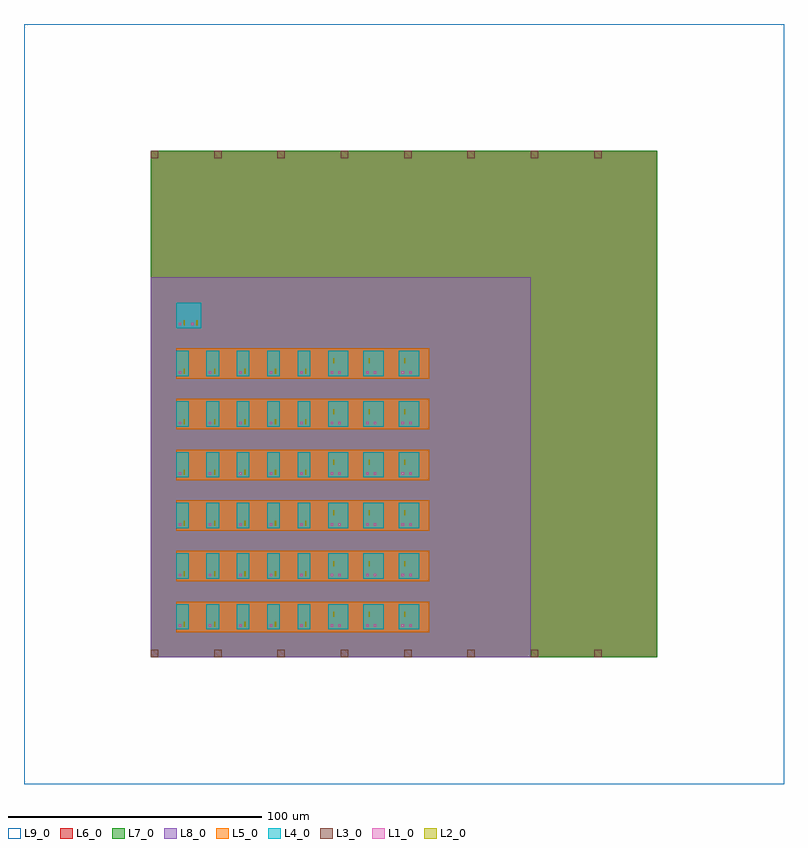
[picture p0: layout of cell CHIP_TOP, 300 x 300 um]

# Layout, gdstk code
import gdstk
lib = gdstk.Library(unit=1e-6, precision=1e-09)
def R(c, l, rs):  # rectangles x0, y0, x1, y1
    for r in rs: c.add(gdstk.rectangle(r[:2], r[2:], *l))
L1_0 = (1, 0)
L2_0 = (2, 0)
L3_0 = (3, 0)
L4_0 = (4, 0)
L5_0 = (5, 0)
L6_0 = (6, 0)
L7_0 = (7, 0)
L8_0 = (8, 0)
L9_0 = (9, 0)

leaf_via_a = lib.new_cell('LEAF_VIA_A')
R(leaf_via_a, L1_0, [(0,0,1,1)])

leaf_via_b = lib.new_cell('LEAF_VIA_B')
R(leaf_via_b, L2_0, [(0,0,0.5,2)])

inv_gate = lib.new_cell('INV_GATE')
R(inv_gate, L4_0, [(0,0,5,10)])
inv_gate.add(gdstk.Reference(leaf_via_a, (1,1)))
inv_gate.add(gdstk.Reference(leaf_via_b, (3,1)))

nand_gate = lib.new_cell('NAND_GATE')
R(nand_gate, L4_0, [(0,0,8,10)])
nand_gate.add(gdstk.Reference(leaf_via_a, (1,1)))
nand_gate.add(gdstk.Reference(leaf_via_a, (4,1)))
nand_gate.add(gdstk.Reference(leaf_via_b, (2,5)))

stdcell_row = lib.new_cell('STDCELL_ROW')
R(stdcell_row, L5_0, [(0,0,100,12)])
stdcell_row.add(gdstk.Reference(inv_gate, (0,1)))
stdcell_row.add(gdstk.Reference(inv_gate, (12,1)))
stdcell_row.add(gdstk.Reference(inv_gate, (24,1)))
stdcell_row.add(gdstk.Reference(inv_gate, (36,1)))
stdcell_row.add(gdstk.Reference(inv_gate, (48,1)))
stdcell_row.add(gdstk.Reference(nand_gate, (60,1)))
stdcell_row.add(gdstk.Reference(nand_gate, (74,1)))
stdcell_row.add(gdstk.Reference(nand_gate, (88,1)))

buf_gate = lib.new_cell('BUF_GATE')
R(buf_gate, L4_0, [(0,0,10,10)])
buf_gate.add(gdstk.Reference(inv_gate, (0,0)))
buf_gate.add(gdstk.Reference(inv_gate, (5,0)))

core_block = lib.new_cell('CORE_BLOCK')
R(core_block, L8_0, [(0,0,150,150)])
core_block.add(gdstk.Reference(stdcell_row, (10,10)))
core_block.add(gdstk.Reference(stdcell_row, (10,30)))
core_block.add(gdstk.Reference(stdcell_row, (10,50)))
core_block.add(gdstk.Reference(stdcell_row, (10,70)))
core_block.add(gdstk.Reference(stdcell_row, (10,90)))
core_block.add(gdstk.Reference(stdcell_row, (10,110)))
core_block.add(gdstk.Reference(buf_gate, (10,130)))

leaf_pad = lib.new_cell('LEAF_PAD')
R(leaf_pad, L3_0, [(0,0,3,3)])

io_ring = lib.new_cell('IO_RING')
R(io_ring, L6_0, [(0,0,200,200)])
io_ring.add(gdstk.Reference(leaf_pad, (0,0)))
io_ring.add(gdstk.Reference(leaf_pad, (0,197)))
io_ring.add(gdstk.Reference(leaf_pad, (25,0)))
io_ring.add(gdstk.Reference(leaf_pad, (25,197)))
io_ring.add(gdstk.Reference(leaf_pad, (50,0)))
io_ring.add(gdstk.Reference(leaf_pad, (50,197)))
io_ring.add(gdstk.Reference(leaf_pad, (75,0)))
io_ring.add(gdstk.Reference(leaf_pad, (75,197)))
io_ring.add(gdstk.Reference(leaf_pad, (100,0)))
io_ring.add(gdstk.Reference(leaf_pad, (100,197)))
io_ring.add(gdstk.Reference(leaf_pad, (125,0)))
io_ring.add(gdstk.Reference(leaf_pad, (125,197)))
io_ring.add(gdstk.Reference(leaf_pad, (150,0)))
io_ring.add(gdstk.Reference(leaf_pad, (150,197)))
io_ring.add(gdstk.Reference(leaf_pad, (175,0)))
io_ring.add(gdstk.Reference(leaf_pad, (175,197)))

power_grid = lib.new_cell('POWER_GRID')
R(power_grid, L7_0, [(0,0,200,200)])

chip_top = lib.new_cell('CHIP_TOP')
R(chip_top, L9_0, [(0,0,300,300)])
chip_top.add(gdstk.Reference(core_block, (50,50)))
chip_top.add(gdstk.Reference(io_ring, (50,50)))
chip_top.add(gdstk.Reference(power_grid, (50,50)))

lib.write_gds('CHIP_TOP.gds')
